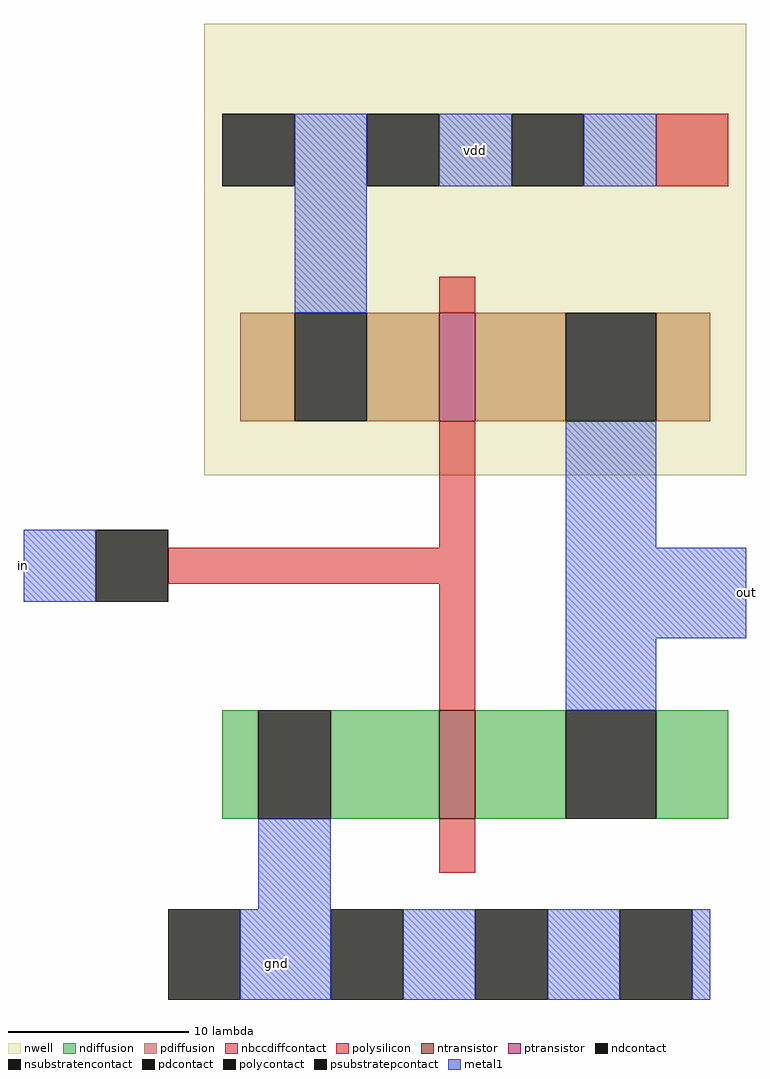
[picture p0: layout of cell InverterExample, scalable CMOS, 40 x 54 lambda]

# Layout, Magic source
magic
tech scmos
<< nwell >>
rect -10 3 20 28
<< polysilicon >>
rect 3 12 5 14
rect 3 -1 5 6
rect -12 -3 5 -1
rect 3 -10 5 -3
rect 3 -19 5 -16
<< ndiffusion >>
rect -9 -16 -7 -10
rect -3 -16 3 -10
rect 5 -16 10 -10
rect 15 -16 19 -10
<< pdiffusion >>
rect -8 6 -5 12
rect -1 6 3 12
rect 5 6 10 12
rect 15 6 18 12
<< metal1 >>
rect -5 12 -1 23
rect 3 19 7 23
rect 11 19 15 23
rect -20 -4 -16 0
rect 10 -1 15 6
rect 10 -6 20 -1
rect 10 -10 15 -6
rect -7 -21 -3 -16
rect -8 -26 -3 -21
rect 1 -26 5 -21
rect 9 -26 13 -21
rect 17 -26 18 -21
<< ntransistor >>
rect 3 -16 5 -10
<< ptransistor >>
rect 3 6 5 12
<< polycontact >>
rect -16 -4 -12 0
<< ndcontact >>
rect -7 -16 -3 -10
rect 10 -16 15 -10
<< pdcontact >>
rect -5 6 -1 12
rect 10 6 15 12
<< nbccdiffcontact >>
rect 15 19 19 23
<< psubstratepcontact >>
rect -12 -26 -8 -21
rect -3 -26 1 -21
rect 5 -26 9 -21
rect 13 -26 17 -21
<< nsubstratencontact >>
rect -9 19 -5 23
rect -1 19 3 23
rect 7 19 11 23
<< labels >>
rlabel metal1 -6 -24 -6 -24 1 gnd
rlabel metal1 5 21 5 21 1 vdd
rlabel metal1 -20 -4 -20 0 3 in
rlabel metal1 20 -6 20 -1 7 out
<< end >>
